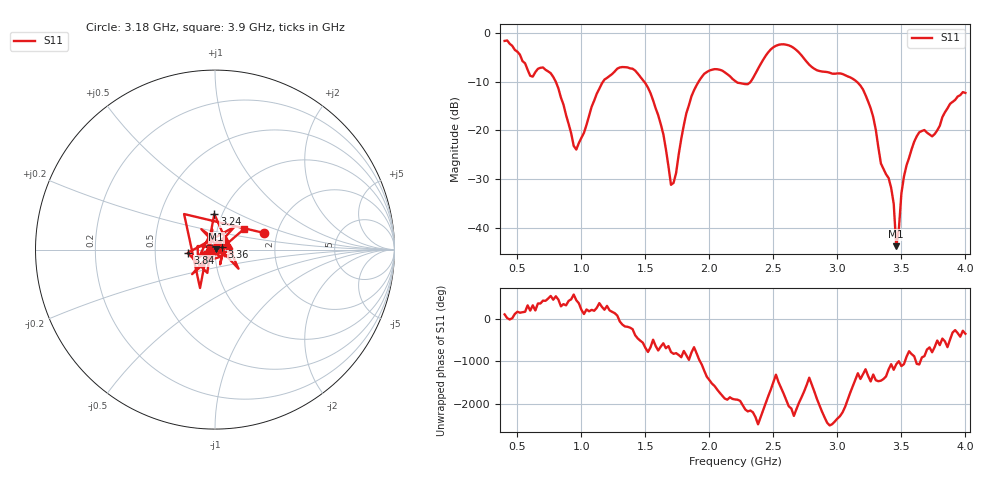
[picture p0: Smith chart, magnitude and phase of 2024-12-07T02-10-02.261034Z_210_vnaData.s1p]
!Created with skrf (http://scikit-rf.org).
# Hz S RI R 50.0
!freq ReS11 ImS11
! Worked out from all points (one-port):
!   181 points, 400 MHz to 4 GHz, reference 50 ohm
!   lowest |S11| = -43.7 dB at 3.46 GHz (marker M1), VSWR 1.01, Z = 50.7 + j0.0667 ohm
!   |S11| at or under -10 dB: 799.4 MHz to 1.17 GHz (370.1 MHz wide, 37.6 % of centre); 1.489 GHz to 1.916 GHz (426.8 MHz wide, 25.1 % of centre); 3.15 GHz to end of sweep (the widest 3 of 4)
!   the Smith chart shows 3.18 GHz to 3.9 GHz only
!   S11 on the Smith chart (normalised r, x): 3.18 GHz: 1.70, +0.35; 3.24 GHz: 0.92, +0.38; 3.36 GHz: 1.08, +0.03; 3.84 GHz: 0.74, -0.03; 3.9 GHz: 1.34, +0.32
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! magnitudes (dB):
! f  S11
! 400 MHz  -1.7
! 600 MHz  -8.8
! 760 MHz  -8.3
! 860 MHz  -14.7
! 960 MHz  -23.9
! 1.16 GHz  -10.4
! 1.3 GHz  -7.1
! 1.54 GHz  -12.4
! 1.64 GHz  -20.8
! 1.7 GHz  -31.1
! 1.76 GHz  -25.0
! 1.82 GHz  -16.5
! 1.94 GHz  -9.1
! 2.2 GHz  -9.9
! 2.66 GHz  -3.1
! 3.1 GHz  -9.1
! 3.18 GHz  -10.8
! 3.24 GHz  -14.1
! 3.36 GHz  -27.9
! 3.42 GHz  -31.8
! 3.44 GHz  -35.0
! 3.46 GHz  -43.7
! 3.5 GHz  -32.9
! 3.56 GHz  -25.6
! 3.64 GHz  -20.4
! 3.84 GHz  -16.3
! 3.9 GHz  -14.1
! 4 GHz  -12.3
